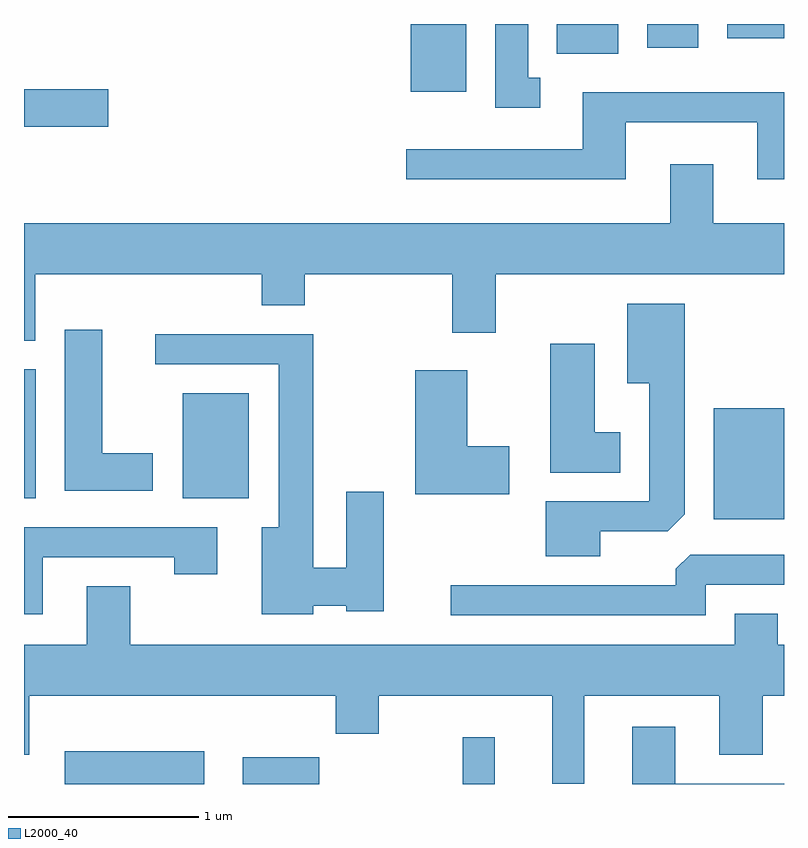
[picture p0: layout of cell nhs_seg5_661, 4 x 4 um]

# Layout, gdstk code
import gdstk
lib = gdstk.Library(unit=1e-6, precision=1e-09)
def R(c, l, rs):  # rectangles x0, y0, x1, y1
    for r in rs: c.add(gdstk.rectangle(r[:2], r[2:], *l))
def P(c, l, *ps):  # polygons
    for p in ps: c.add(gdstk.Polygon(p, *l))
L2000_40 = (2000, 40)

nhs_seg5_661 = lib.new_cell('nhs_seg5_661')
R(nhs_seg5_661, L2000_40, [(203.826,1494.072,204.559,1494.244), (204.761,1494.072,205.164,1494.214), (205.921,1494.072,206.089,1494.318), (207.241,1495.466,207.611,1496.049), (203.611,1495.576,203.674,1496.254), (204.446,1495.576,204.794,1496.129), (203.611,1497.531,204.054,1497.729), (205.646,1497.716,205.939,1498.072), (206.416,1497.916,206.739,1498.072), (206.891,1497.946,207.159,1498.072), (207.311,1497.996,207.611,1498.072)])
P(nhs_seg5_661, L2000_40, [(206.328,1497.789),(206.264,1497.789),(206.264,1498.072),(206.091,1498.072),(206.091,1497.631),(206.328,1497.631)],
  [(206.779,1497.556),(207.471,1497.556),(207.471,1497.256),(207.611,1497.256),(207.611,1497.714),(206.551,1497.714),(206.551,1497.414),(205.623,1497.414),(205.623,1497.256),(206.779,1497.256)],
  [(203.669,1496.756),(204.861,1496.756),(204.861,1496.591),(205.089,1496.591),(205.089,1496.756),(205.866,1496.756),(205.866,1496.446),(206.094,1496.446),(206.094,1496.756),(207.611,1496.756),(207.611,1497.024),(207.239,1497.024),(207.239,1497.334),(207.011,1497.334),(207.011,1497.024),(203.611,1497.024),(203.611,1496.406),(203.669,1496.406)],
  [(206.644,1495.401),(206.999,1495.401),(207.089,1495.492),(207.089,1496.599),(206.786,1496.599),(206.786,1496.181),(206.901,1496.181),(206.901,1495.559),(206.356,1495.559),(206.356,1495.271),(206.644,1495.271)],
  [(204.289,1495.814),(204.024,1495.814),(204.024,1496.464),(203.826,1496.464),(203.826,1495.616),(204.289,1495.616)],
  [(205.134,1495.011),(205.306,1495.011),(205.306,1494.981),(205.504,1494.981),(205.504,1495.609),(205.306,1495.609),(205.306,1495.209),(205.134,1495.209),(205.134,1496.439),(204.303,1496.439),(204.303,1496.281),(204.951,1496.281),(204.951,1495.424),(204.861,1495.424),(204.861,1494.966),(205.134,1494.966)],
  [(206.749,1495.924),(206.614,1495.924),(206.614,1496.389),(206.381,1496.389),(206.381,1495.711),(206.749,1495.711)],
  [(206.164,1495.849),(205.944,1495.849),(205.944,1496.249),(205.671,1496.249),(205.671,1495.596),(206.164,1495.596)],
  [(203.709,1495.266),(204.401,1495.266),(204.401,1495.176),(204.629,1495.176),(204.629,1495.424),(203.611,1495.424),(203.611,1494.966),(203.709,1494.966)],
  [(207.199,1495.121),(207.611,1495.121),(207.611,1495.279),(207.117,1495.279),(207.041,1495.204),(207.041,1495.119),(205.858,1495.119),(205.858,1494.961),(207.199,1494.961)],
  [(206.559,1494.536),(207.271,1494.536),(207.271,1494.226),(207.499,1494.226),(207.499,1494.536),(207.611,1494.536),(207.611,1494.804),(207.579,1494.804),(207.579,1494.969),(207.351,1494.969),(207.351,1494.804),(204.169,1494.804),(204.169,1495.114),(203.941,1495.114),(203.941,1494.804),(203.611,1494.804),(203.611,1494.226),(203.639,1494.226),(203.639,1494.536),(205.251,1494.536),(205.251,1494.336),(205.479,1494.336),(205.479,1494.536),(206.391,1494.536),(206.391,1494.073),(206.559,1494.073)],
  [(207.611,1494.074),(207.039,1494.074),(207.039,1494.374),(206.811,1494.374),(206.811,1494.072),(207.611,1494.072)])

lib.write_gds('nhs_seg5_661.gds')
